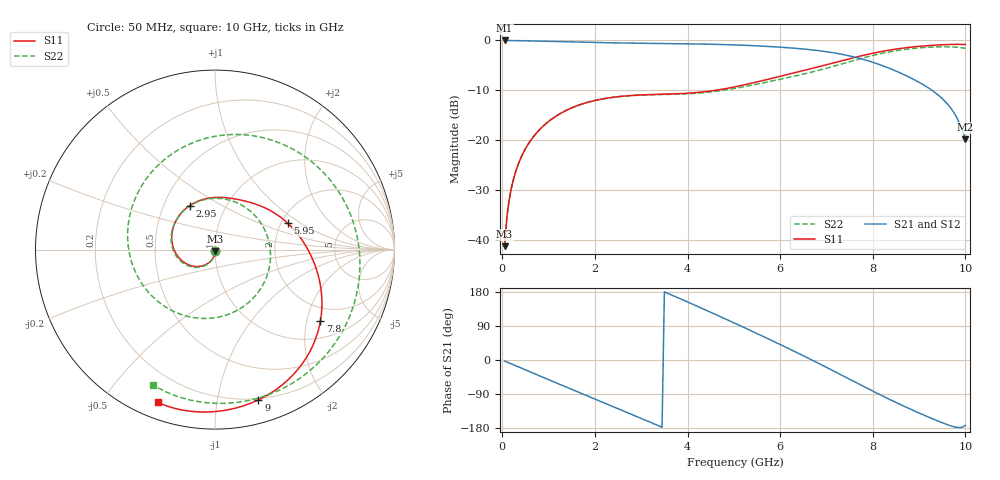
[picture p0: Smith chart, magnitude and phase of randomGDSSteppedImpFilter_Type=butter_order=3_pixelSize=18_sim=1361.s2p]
! freq	dB(S11)	phase(S11)	dB(S12)	phase(S12)
!  dB(S21)	phase(S21)	dB(S22)	phase(S22)
!S-par simulation data
#  GHz  S  DB  R 50
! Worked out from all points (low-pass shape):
!   200 points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, 50 MHz to 10 GHz, reference 50 ohm
!   highest |S21| = -0.02 dB at 50 MHz (marker M1); lowest = -19.9 dB at 10 GHz (marker M2)
!   |S21| within 3 dB of the highest: start of sweep to 7.451 GHz
!   lowest |S11| = -41.3 dB at 50 MHz (marker M3), VSWR 1.02, Z = 50.1 - j0.86 ohm
!   |S11| at or under -10 dB: start of sweep to 4.616 GHz
!   |S22| runs from -41.3 to -1.3 dB; largest |S21 - S12| = 0
!   S11 on the Smith chart (normalised r, x): 50 MHz: 1.00, -0.02; 2.95 GHz: 0.67, +0.36; 5.95 GHz: 2.16, +0.78; 7.8 GHz: 1.53, -2.42; 9 GHz: 0.19, -1.31; 10 GHz: 0.07, -0.69
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0.05  -41.27 -83.4  -0.02 -2.7  -0.02 -2.7  -41.26 -83.3
0.1  -35.32 -88.9  -0.03 -5.3  -0.03 -5.3  -35.31 -88.5
0.2  -29.46 -97.0  -0.04 -10.5  -0.04 -10.5  -29.44 -96.4
0.5  -21.74 -115.6  -0.09 -26.1  -0.09 -26.1  -21.71 -114.1
1.15  -15.26 -151.3  -0.23 -59.6  -0.23 -59.6  -15.23 -148.2
1.75  -12.68 177.5  -0.37 -90.2  -0.37 -90.2  -12.67 -179.0
2.3  -11.54 150.2  -0.48 -118.2  -0.48 -118.2  -11.53 152.0
2.95  -10.96 120.1  -0.57 -151.5  -0.57 -151.5  -10.99 115.3
3.4  -10.82 101.1  -0.62 -174.9  -0.62 -174.9  -10.88 87.4
4.15  -10.50 73.9  -0.71 145.1  -0.71 145.1  -10.64 34.9
4.6  -10.02 59.9  -0.79 120.5  -0.79 120.5  -10.24 0.1
5.05  -9.27 46.6  -0.92 95.4  -0.92 95.4  -9.59 -36.3
5.5  -8.33 33.3  -1.10 69.9  -1.10 69.9  -8.78 -73.9
5.95  -7.32 20.1  -1.33 43.8  -1.33 43.8  -7.90 -112.8
6.7  -5.60 -1.5  -1.92 -0.9  -1.92 -0.9  -6.32 178.2
7.2  -4.40 -15.7  -2.57 -31.8  -2.57 -31.8  -5.07 129.5
7.8  -3.00 -33.9  -3.83 -69.6  -3.83 -69.6  -3.50 71.6
8.35  -1.96 -52.0  -5.57 -103.2  -5.57 -103.2  -2.32 22.5
8.65  -1.55 -62.1  -6.77 -120.6  -6.77 -120.6  -1.86 -2.3
9  -1.20 -73.9  -8.41 -139.9  -8.41 -139.9  -1.51 -29.9
9.55  -0.86 -92.8  -12.13 -168.0  -12.13 -168.0  -1.29 -73.0
10  -0.83 -110.6  -19.86 -172.5  -19.86 -172.5  -1.61 -114.7
